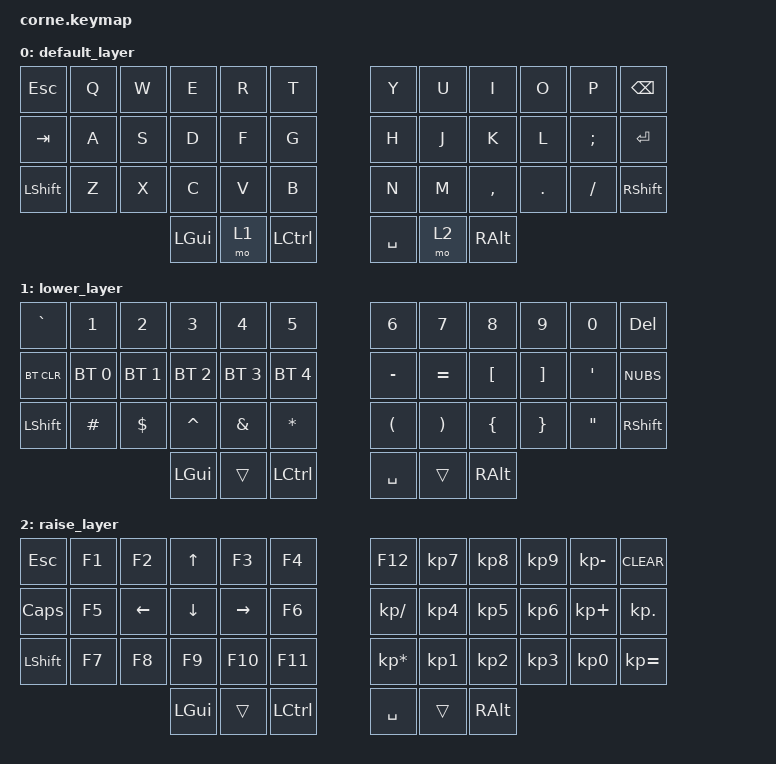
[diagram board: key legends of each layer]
/*
 * Copyright (c) 2020 The ZMK Contributors
 *
 * SPDX-License-Identifier: MIT
 */

#include <behaviors.dtsi>
#include <dt-bindings/zmk/keys.h>
#include <dt-bindings/zmk/bt.h>

/ {
        keymap {
                compatible = "zmk,keymap";

                default_layer {
// -----------------------------------------------------------------------------------------
//  | ESC   | Q | W | E | R | T |   | Y | U | I | O | P | BKSP  |
//  | TAB   | A | S | D | F | G |   | H | J | K | L | ; | ENT   |
//  | LSHFT | Z | X | C | V | B |   | N | M | , | . | / | RSHFT |
//      | GUI   | LWR   | LCTRL |   | SPC   | RSE   | ALT   |
                        bindings = <
   &kp ESC   &kp Q &kp W &kp E &kp R &kp T   &kp Y &kp U  &kp I     &kp O   &kp P    &kp BSPC
   &kp TAB   &kp A &kp S &kp D &kp F &kp G   &kp H &kp J  &kp K     &kp L   &kp SEMI &kp RET
   &kp LSHFT &kp Z &kp X &kp C &kp V &kp B   &kp N &kp M  &kp COMMA &kp DOT &kp FSLH &kp RSHFT
                  &kp LGUI &mo 1 &kp LCTRL   &kp SPACE &mo 2 &kp RALT
                        >;
                };
                lower_layer {
// -----------------------------------------------------------------------------------------
// | ~      | 1   | 2   | 3   | 4   | 5   |   | 6 | 7 | 8 | 9 | 0 | DEL   |
// | BTCLR  | BT1 | BT2 | BT3 | BT4 | BT5 |   | - | = | [ | ] | ' | \     |
// | LSHFT  | #   | $   | ^   | &   | *   |   | ( | ) | { | } | " | RSHFT |
//      | GUI     |           | LCTRL     |   |SPC    |       | ALT   |
                        bindings = <
   &kp GRAVE  &kp N1       &kp N2       &kp N3       &kp N4       &kp N5       &kp N6    &kp N7    &kp N8   &kp N9    &kp N0  &kp DEL
   &bt BT_CLR &bt BT_SEL 0 &bt BT_SEL 1 &bt BT_SEL 2 &bt BT_SEL 3 &bt BT_SEL 4 &kp MINUS &kp EQUAL &kp LBKT &kp RBKT  &kp SQT &kp NUBS 
   &kp LSHFT  &kp HASH     &kp DLLR     &kp CARET    &kp AMPS     &kp STAR     &kp LPAR  &kp RPAR  &kp LBRC &kp RBRC  &kp DQT &kp RSHFT
                           &kp LGUI &trans &kp LCTRL                           &kp SPACE &trans    &kp RALT
                        >;
                };
                raise_layer {
// -----------------------------------------------------------------------------------------
// | ESC   | F1 | F2  | UP  | F3  | F4  |  | F12 | 7 | 8 | 9 | - | CLR |
// | CAPS  | F5 | LFT | DWN | RGT | F6  |  | /   | 4 | 5 | 6 | + | .   |
// | LSHFT | F7 | F8  | F9  | F10 | F11 |  | *   | 1 | 2 | 3 | 0 | =   |
//      | GUI   |           | LCTRL     |  | SPC     |       | ALT   |
                        bindings = <
   &kp ESC   &kp F1 &kp F2   &kp UP   &kp F3    &kp F4  &kp F12         &kp KP_N7 &kp KP_N8 &kp KP_N9 &kp KP_MINUS &kp CLEAR
   &kp CAPS  &kp F5 &kp LEFT &kp DOWN &kp RIGHT &kp F6  &kp KP_SLASH    &kp KP_N4 &kp KP_N5 &kp KP_N6 &kp KP_PLUS  &kp KP_DOT
   &kp LSHFT &kp F7 &kp F8   &kp F9   &kp F10   &kp F11 &kp KP_MULTIPLY &kp KP_N1 &kp KP_N2 &kp KP_N3 &kp KP_N0    &kp KP_EQUAL
                    &kp LGUI &trans   &kp LCTRL         &kp SPACE &trans &kp RALT
                        >;
                };
        };
};
